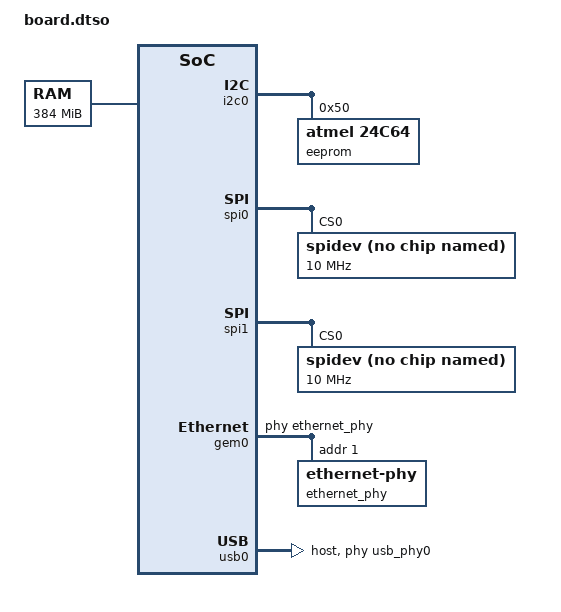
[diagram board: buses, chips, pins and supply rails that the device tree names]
/dts-v1/;
/plugin/;

/ {

	fragment@0 {
		target-path = "/";
		__overlay__ {
			#address-cells = <1>;
			#size-cells = <0>;
			usb_phy0: phy@e0002000 {
				#phy-cells = <0>;
				compatible = "ulpi-phy";
				reg = <0xe0002000 0x1000>;
				view-port = <0x0170>;
				drv-vbus;
			};
		};
	};

	fragment@1 {
        target-path = "/";
        __overlay__ {
            #address-cells = <2>;
            #size-cells = <1>;

            memory@0 {
                device_type = "memory";
                /* addr_hi, addr_lo, size */
                reg = <0x0 0x0 0x18000000>;
            };
        };
	};

	fragment@2 {
		target = <&i2c0>;
		__overlay__ {
			#address-cells = <1>;
			#size-cells = <0>;
			eeprom@50 {
				compatible = "atmel,24c64", "at24";
				size = <8192>;
				pagesize = <32>;
				reg = <0x50>;
			};
		};
	};

	fragment@3 {
		target = <&spi0>;
		__overlay__ {
			#address-cells = <1>;
			#size-cells = <0>;
			spidev@0 {
				compatible = "rohm,dh2228fv";
				reg = <0x0>;
				spi-max-frequency = <10000000>;
			};
		};
	};

	fragment@4 {
		target = <&spi1>;
		__overlay__ {
			#address-cells = <1>;
			#size-cells = <0>;
			spidev@0 {
				compatible = "rohm,dh2228fv";
				reg = <0x0>;
				spi-max-frequency = <10000000>;
			};
		};
	};

	fragment@5 {
		target = <&gem0>;
		__overlay__ {
			#address-cells = <1>;
			#size-cells = <0>;
			phy-handle = <&ethernet_phy>;
			ethernet_phy: ethernet-phy@1 {
				reg = <1>;
			};
		};
	};

	fragment@6 {
		target = <&usb0>;
		__overlay__ {
			dr_mode = "host";
			usb-phy = <&usb_phy0>;
			xlnx,phy-reset-gpio = <&gpio0 48 0>;
		};
	};

};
